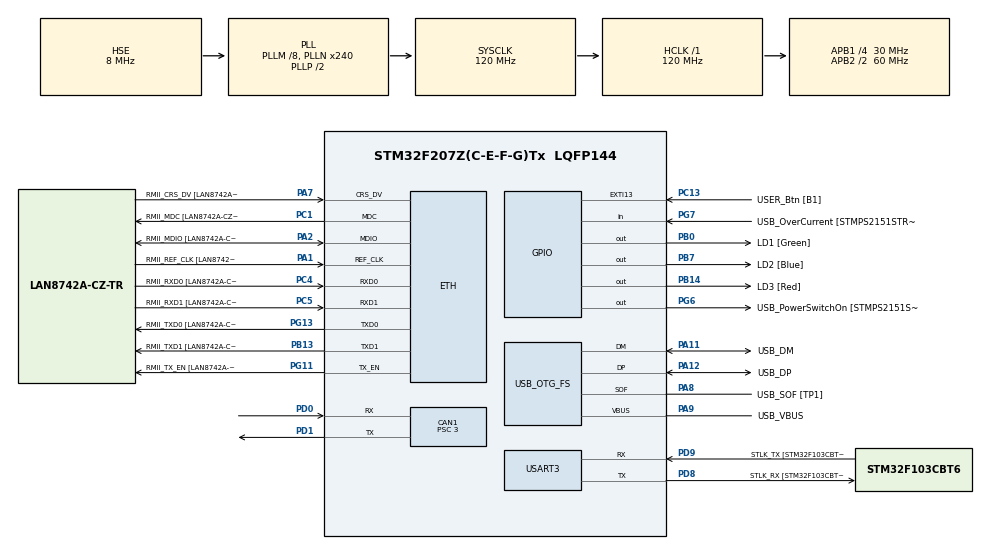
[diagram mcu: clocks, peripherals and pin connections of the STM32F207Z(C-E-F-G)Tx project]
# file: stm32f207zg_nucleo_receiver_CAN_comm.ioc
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CAN1.ABOM=ENABLE
CAN1.BS1=CAN_BS1_16TQ
CAN1.BS2=CAN_BS2_3TQ
CAN1.CalculateBaudRate=500000
CAN1.CalculateTimeBit=2000
CAN1.CalculateTimeQuantum=100.0
CAN1.Prescaler=3
ETH.MediaInterface=ETH_MEDIA_INTERFACE_RMII
ETH.PHY_Name=LAN8742A_PHY_ADDRESS
ETH.PHY_Value=0
ETH.PhyAddress=0
Mcu.Family=STM32F2
Mcu.Name=STM32F207Z(C-E-F-G)Tx
Mcu.Package=LQFP144
NVIC.CAN1_RX0_IRQn=true\:0\:0\:false\:false\:true\:true\:true\:true
NVIC.PriorityGroup=NVIC_PRIORITYGROUP_4
PA1.GPIO_Label=RMII_REF_CLK [LAN8742A-CZ-TR_REFCLK0]
PA1.Mode=RMII
PA1.Signal=ETH_REF_CLK
PA10.GPIO_Label=USB_ID
PA10.Signal=USB_OTG_FS_ID
PA11.GPIO_Label=USB_DM
PA11.Mode=Device_Only
PA11.Signal=USB_OTG_FS_DM
PA12.GPIO_Label=USB_DP
PA12.Mode=Device_Only
PA12.Signal=USB_OTG_FS_DP
PA13.GPIO_Label=TMS
PA13.Mode=Serial_Wire
PA13.Signal=SYS_JTMS-SWDIO
PA14.GPIO_Label=TCK
PA14.Mode=Serial_Wire
PA14.Signal=SYS_JTCK-SWCLK
PA2.GPIO_Label=RMII_MDIO [LAN8742A-CZ-TR_MDIO]
PA2.Mode=RMII
PA2.Signal=ETH_MDIO
PA7.GPIO_Label=RMII_CRS_DV [LAN8742A-CZ-TR_CRS_DV]
PA7.Mode=RMII
PA7.Signal=ETH_CRS_DV
PA8.GPIO_Label=USB_SOF [TP1]
PA8.Mode=Activate_SOF_FS
PA8.Signal=USB_OTG_FS_SOF
PA9.GPIO_Label=USB_VBUS
PA9.Mode=Activate_VBUS
PA9.Signal=USB_OTG_FS_VBUS
PB0.GPIO_Label=LD1 [Green]
PB0.Signal=GPIO_Output
PB13.GPIO_Label=RMII_TXD1 [LAN8742A-CZ-TR_TXD1]
PB13.Mode=RMII
PB13.Signal=ETH_TXD1
PB14.GPIO_Label=LD3 [Red]
PB14.Signal=GPIO_Output
PB3.GPIO_Label=SWO
PB3.Signal=SYS_JTDO-SWO
PB7.GPIO_Label=LD2 [Blue]
PB7.Signal=GPIO_Output
PC1.GPIO_Label=RMII_MDC [LAN8742A-CZ-TR_MDC]
PC1.Mode=RMII
PC1.Signal=ETH_MDC
PC13.GPIO_Label=USER_Btn [B1]
PC13.Signal=GPXTI13
PC14-OSC32_IN.Mode=LSE-External-Oscillator
PC14-OSC32_IN.Signal=RCC_OSC32_IN
PC15-OSC32_OUT.Mode=LSE-External-Oscillator
PC15-OSC32_OUT.Signal=RCC_OSC32_OUT
PC4.GPIO_Label=RMII_RXD0 [LAN8742A-CZ-TR_RXD0]
PC4.Mode=RMII
PC4.Signal=ETH_RXD0
PC5.GPIO_Label=RMII_RXD1 [LAN8742A-CZ-TR_RXD1]
PC5.Mode=RMII
PC5.Signal=ETH_RXD1
PD0.Mode=CAN_Activate
PD0.Signal=CAN1_RX
PD1.Mode=CAN_Activate
PD1.Signal=CAN1_TX
PD8.GPIO_Label=STLK_RX [STM32F103CBT6_PA2]
PD8.Mode=Asynchronous
PD8.Signal=USART3_TX
PD9.GPIO_Label=STLK_TX [STM32F103CBT6_PA3]
PD9.Mode=Asynchronous
PD9.Signal=USART3_RX
PG11.GPIO_Label=RMII_TX_EN [LAN8742A-CZ-TR_TXEN]
PG11.Mode=RMII
PG11.Signal=ETH_TX_EN
PG13.GPIO_Label=RMII_TXD0 [LAN8742A-CZ-TR_TXD0]
PG13.Mode=RMII
PG13.Signal=ETH_TXD0
PG6.GPIO_Label=USB_PowerSwitchOn [STMPS2151STR_EN]
PG6.Signal=GPIO_Output
PG7.GPIO_Label=USB_OverCurrent [STMPS2151STR_FAULT]
PG7.Signal=GPIO_Input
PH0-OSC_IN.GPIO_Label=MCO [STM32F103CBT6_PA8]
PH0-OSC_IN.Mode=HSE-External-Clock-Source
PH0-OSC_IN.Signal=RCC_OSC_IN
PH1-OSC_OUT.Mode=HSE-External-Clock-Source
PH1-OSC_OUT.Signal=RCC_OSC_OUT
ProjectManager.HeapSize=0x200
ProjectManager.StackSize=0x400
ProjectManager.TargetToolchain=STM32CubeIDE
RCC.48MHZClocksFreq_Value=48000000
RCC.AHBFreq_Value=120000000
RCC.APB1CLKDivider=RCC_HCLK_DIV4
RCC.APB1Freq_Value=30000000
RCC.APB1TimFreq_Value=60000000
RCC.APB2CLKDivider=RCC_HCLK_DIV2
RCC.APB2Freq_Value=60000000
RCC.APB2TimFreq_Value=120000000
RCC.CortexFreq_Value=120000000
RCC.HCLKFreq_Value=120000000
RCC.HSE_VALUE=8000000
RCC.HSI_VALUE=16000000
RCC.PLLM=8
RCC.PLLMUL=RCC_PLL_MUL9
RCC.PLLN=240
RCC.PLLQ=5
RCC.PLLSourceVirtual=RCC_PLLSOURCE_HSE
RCC.PRESCALERUSB=RCC_USBCLKSOURCE_PLL_DIV1_5
RCC.SYSCLKFreq_VALUE=120000000
RCC.SYSCLKSource=RCC_SYSCLKSOURCE_PLLCLK
RCC.SYSCLKSourceVirtual=RCC_SYSCLKSOURCE_PLLCLK
RCC.USBFreq_Value=48000000
RCC.VCOOutputFreq_Value=240000000
USART3.VirtualMode=VM_ASYNC
USB_OTG_FS.VirtualMode=Device_Only
board=NUCLEO-F207ZG

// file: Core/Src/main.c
/* USER CODE BEGIN Header */
/**
  ******************************************************************************
  * @file           : main.c
  * @brief          : Main program body
  ******************************************************************************
  * @attention
  *
  * Copyright (c) 2026 STMicroelectronics.
  * All rights reserved.
  *
  * This software is licensed under terms that can be found in the LICENSE file
  * in the root directory of this software component.
  * If no LICENSE file comes with this software, it is provided AS-IS.
  *
  ******************************************************************************
  */
/* USER CODE END Header */
#include "main.h"

CAN_HandleTypeDef hcan1;

ETH_HandleTypeDef heth;

UART_HandleTypeDef huart3;

PCD_HandleTypeDef hpcd_USB_OTG_FS;

void SystemClock_Config(void);
static void MX_GPIO_Init(void);
static void MX_ETH_Init(void);
static void MX_USART3_UART_Init(void);
static void MX_USB_OTG_FS_PCD_Init(void);
static void MX_CAN1_Init(void);

/* USER CODE BEGIN 0 */
#include <stdio.h>
#include <string.h>

CAN_RxHeaderTypeDef RxHeader;
uint8_t RxData[8];
char uartMsg[100];
/* USER CODE END 0 */

int main(void)
{

  /* MCU Configuration--------------------------------------------------------*/

  /* Reset of all peripherals, Initializes the Flash interface and the Systick. */
  HAL_Init();

  /* Configure the system clock */
  SystemClock_Config();

  /* Initialize all configured peripherals */
  MX_GPIO_Init();
  MX_ETH_Init();
  MX_USART3_UART_Init();
  MX_USB_OTG_FS_PCD_Init();
  MX_CAN1_Init();
  /* USER CODE BEGIN 2 */
  CAN_FilterTypeDef sFilterConfig;

  /* Accept all CAN IDs */
  sFilterConfig.FilterBank = 0;
  sFilterConfig.FilterMode = CAN_FILTERMODE_IDMASK;
  sFilterConfig.FilterScale = CAN_FILTERSCALE_32BIT;
  sFilterConfig.FilterIdHigh = 0x0000;
  sFilterConfig.FilterIdLow = 0x0000;
  sFilterConfig.FilterMaskIdHigh = 0x0000;
  sFilterConfig.FilterMaskIdLow = 0x0000;
  sFilterConfig.FilterFIFOAssignment = CAN_RX_FIFO0;
  sFilterConfig.FilterActivation = ENABLE;

  HAL_CAN_ConfigFilter(&hcan1, &sFilterConfig);

  /* Start CAN */
  HAL_CAN_Start(&hcan1);

  /* Enable RX interrupt */
  HAL_CAN_ActivateNotification(&hcan1, CAN_IT_RX_FIFO0_MSG_PENDING);

  /* Print ready message */
  sprintf(uartMsg, "CAN Receiver Ready...\r\n");
  HAL_UART_Transmit(&huart3, (uint8_t*)uartMsg, strlen(uartMsg), 100);
  /* USER CODE END 2 */

  /* Infinite loop */
  while (1)
  {

  }
}

void SystemClock_Config(void)
{
  RCC_OscInitTypeDef RCC_OscInitStruct = {0};
  RCC_ClkInitTypeDef RCC_ClkInitStruct = {0};

  /** Initializes the RCC Oscillators according to the specified parameters
  * in the RCC_OscInitTypeDef structure.
  */
  RCC_OscInitStruct.OscillatorType = RCC_OSCILLATORTYPE_HSE;
  RCC_OscInitStruct.HSEState = RCC_HSE_BYPASS;
  RCC_OscInitStruct.PLL.PLLState = RCC_PLL_ON;
  RCC_OscInitStruct.PLL.PLLSource = RCC_PLLSOURCE_HSE;
  RCC_OscInitStruct.PLL.PLLM = 8;
  RCC_OscInitStruct.PLL.PLLN = 240;
  RCC_OscInitStruct.PLL.PLLP = RCC_PLLP_DIV2;
  RCC_OscInitStruct.PLL.PLLQ = 5;
  if (HAL_RCC_OscConfig(&RCC_OscInitStruct) != HAL_OK)
  {
    Error_Handler();
  }

  /** Initializes the CPU, AHB and APB buses clocks
  */
  RCC_ClkInitStruct.ClockType = RCC_CLOCKTYPE_HCLK|RCC_CLOCKTYPE_SYSCLK
                              |RCC_CLOCKTYPE_PCLK1|RCC_CLOCKTYPE_PCLK2;
  RCC_ClkInitStruct.SYSCLKSource = RCC_SYSCLKSOURCE_PLLCLK;
  RCC_ClkInitStruct.AHBCLKDivider = RCC_SYSCLK_DIV1;
  RCC_ClkInitStruct.APB1CLKDivider = RCC_HCLK_DIV4;
  RCC_ClkInitStruct.APB2CLKDivider = RCC_HCLK_DIV2;

  if (HAL_RCC_ClockConfig(&RCC_ClkInitStruct, FLASH_LATENCY_3) != HAL_OK)
  {
    Error_Handler();
  }
}

static void MX_CAN1_Init(void)
{

  hcan1.Instance = CAN1;
  hcan1.Init.Prescaler = 3;
  hcan1.Init.Mode = CAN_MODE_NORMAL;
  hcan1.Init.SyncJumpWidth = CAN_SJW_1TQ;
  hcan1.Init.TimeSeg1 = CAN_BS1_16TQ;
  hcan1.Init.TimeSeg2 = CAN_BS2_3TQ;
  hcan1.Init.TimeTriggeredMode = DISABLE;
  hcan1.Init.AutoBusOff = ENABLE;
  hcan1.Init.AutoWakeUp = DISABLE;
  hcan1.Init.AutoRetransmission = DISABLE;
  hcan1.Init.ReceiveFifoLocked = DISABLE;
  hcan1.Init.TransmitFifoPriority = DISABLE;
  if (HAL_CAN_Init(&hcan1) != HAL_OK)
  {
    Error_Handler();
  }

}

static void MX_ETH_Init(void)
{

   static uint8_t MACAddr[6];

  heth.Instance = ETH;
  heth.Init.AutoNegotiation = ETH_AUTONEGOTIATION_ENABLE;
  heth.Init.Speed = ETH_SPEED_100M;
  heth.Init.DuplexMode = ETH_MODE_FULLDUPLEX;
  heth.Init.PhyAddress = LAN8742A_PHY_ADDRESS;
  MACAddr[0] = 0x00;
  MACAddr[1] = 0x80;
  MACAddr[2] = 0xE1;
  MACAddr[3] = 0x00;
  MACAddr[4] = 0x00;
  MACAddr[5] = 0x00;
  heth.Init.MACAddr = &MACAddr[0];
  heth.Init.RxMode = ETH_RXPOLLING_MODE;
  heth.Init.ChecksumMode = ETH_CHECKSUM_BY_HARDWARE;
  heth.Init.MediaInterface = ETH_MEDIA_INTERFACE_RMII;

  if (HAL_ETH_Init(&heth) != HAL_OK)
  {
    Error_Handler();
  }

}

static void MX_USART3_UART_Init(void)
{

  huart3.Instance = USART3;
  huart3.Init.BaudRate = 115200;
  huart3.Init.WordLength = UART_WORDLENGTH_8B;
  huart3.Init.StopBits = UART_STOPBITS_1;
  huart3.Init.Parity = UART_PARITY_NONE;
  huart3.Init.Mode = UART_MODE_TX_RX;
  huart3.Init.HwFlowCtl = UART_HWCONTROL_NONE;
  huart3.Init.OverSampling = UART_OVERSAMPLING_16;
  if (HAL_UART_Init(&huart3) != HAL_OK)
  {
    Error_Handler();
  }

}

static void MX_USB_OTG_FS_PCD_Init(void)
{

  hpcd_USB_OTG_FS.Instance = USB_OTG_FS;
  hpcd_USB_OTG_FS.Init.dev_endpoints = 4;
  hpcd_USB_OTG_FS.Init.speed = PCD_SPEED_FULL;
  hpcd_USB_OTG_FS.Init.dma_enable = DISABLE;
  hpcd_USB_OTG_FS.Init.phy_itface = PCD_PHY_EMBEDDED;
  hpcd_USB_OTG_FS.Init.Sof_enable = ENABLE;
  hpcd_USB_OTG_FS.Init.low_power_enable = DISABLE;
  hpcd_USB_OTG_FS.Init.vbus_sensing_enable = ENABLE;
  hpcd_USB_OTG_FS.Init.use_dedicated_ep1 = DISABLE;
  if (HAL_PCD_Init(&hpcd_USB_OTG_FS) != HAL_OK)
  {
    Error_Handler();
  }

}

static void MX_GPIO_Init(void)
{
  GPIO_InitTypeDef GPIO_InitStruct = {0};

  /* GPIO Ports Clock Enable */
  __HAL_RCC_GPIOC_CLK_ENABLE();
  __HAL_RCC_GPIOH_CLK_ENABLE();
  __HAL_RCC_GPIOA_CLK_ENABLE();
  __HAL_RCC_GPIOB_CLK_ENABLE();
  __HAL_RCC_GPIOD_CLK_ENABLE();
  __HAL_RCC_GPIOG_CLK_ENABLE();

  /*Configure GPIO pin Output Level */
  HAL_GPIO_WritePin(GPIOB, LD1_Pin|LD3_Pin|LD2_Pin, GPIO_PIN_RESET);

  /*Configure GPIO pin Output Level */
  HAL_GPIO_WritePin(USB_PowerSwitchOn_GPIO_Port, USB_PowerSwitchOn_Pin, GPIO_PIN_RESET);

  /*Configure GPIO pin : USER_Btn_Pin */
  GPIO_InitStruct.Pin = USER_Btn_Pin;
  GPIO_InitStruct.Mode = GPIO_MODE_IT_RISING;
  GPIO_InitStruct.Pull = GPIO_NOPULL;
  HAL_GPIO_Init(USER_Btn_GPIO_Port, &GPIO_InitStruct);

  /*Configure GPIO pins : LD1_Pin LD3_Pin LD2_Pin */
  GPIO_InitStruct.Pin = LD1_Pin|LD3_Pin|LD2_Pin;
  GPIO_InitStruct.Mode = GPIO_MODE_OUTPUT_PP;
  GPIO_InitStruct.Pull = GPIO_NOPULL;
  GPIO_InitStruct.Speed = GPIO_SPEED_FREQ_LOW;
  HAL_GPIO_Init(GPIOB, &GPIO_InitStruct);

  /*Configure GPIO pin : USB_PowerSwitchOn_Pin */
  GPIO_InitStruct.Pin = USB_PowerSwitchOn_Pin;
  GPIO_InitStruct.Mode = GPIO_MODE_OUTPUT_PP;
  GPIO_InitStruct.Pull = GPIO_NOPULL;
  GPIO_InitStruct.Speed = GPIO_SPEED_FREQ_LOW;
  HAL_GPIO_Init(USB_PowerSwitchOn_GPIO_Port, &GPIO_InitStruct);

  /*Configure GPIO pin : USB_OverCurrent_Pin */
  GPIO_InitStruct.Pin = USB_OverCurrent_Pin;
  GPIO_InitStruct.Mode = GPIO_MODE_INPUT;
  GPIO_InitStruct.Pull = GPIO_NOPULL;
  HAL_GPIO_Init(USB_OverCurrent_GPIO_Port, &GPIO_InitStruct);

}

/* USER CODE BEGIN 4 */

void HAL_CAN_RxFifo0MsgPendingCallback(CAN_HandleTypeDef *hcan)
{
    if (HAL_CAN_GetRxMessage(hcan, CAN_RX_FIFO0, &RxHeader, RxData) == HAL_OK)
    {
        HAL_GPIO_TogglePin(GPIOB, LD1_Pin);

        sprintf(uartMsg, "ID: 0x%lX | DLC: %d | Data: ",
                RxHeader.StdId,
                RxHeader.DLC);

        HAL_UART_Transmit(&huart3, (uint8_t*)uartMsg, strlen(uartMsg), 100);

        for(int i = 0; i < RxHeader.DLC; i++)
        {
            sprintf(uartMsg, "%02X ", RxData[i]);
            HAL_UART_Transmit(&huart3, (uint8_t*)uartMsg, strlen(uartMsg), 100);
        }

        sprintf(uartMsg, "\r\n");
        HAL_UART_Transmit(&huart3, (uint8_t*)uartMsg, strlen(uartMsg), 100);
    }
}
/* USER CODE END 4 */

void Error_Handler(void)
{
  __disable_irq();
  while (1)
  {
  }
}
